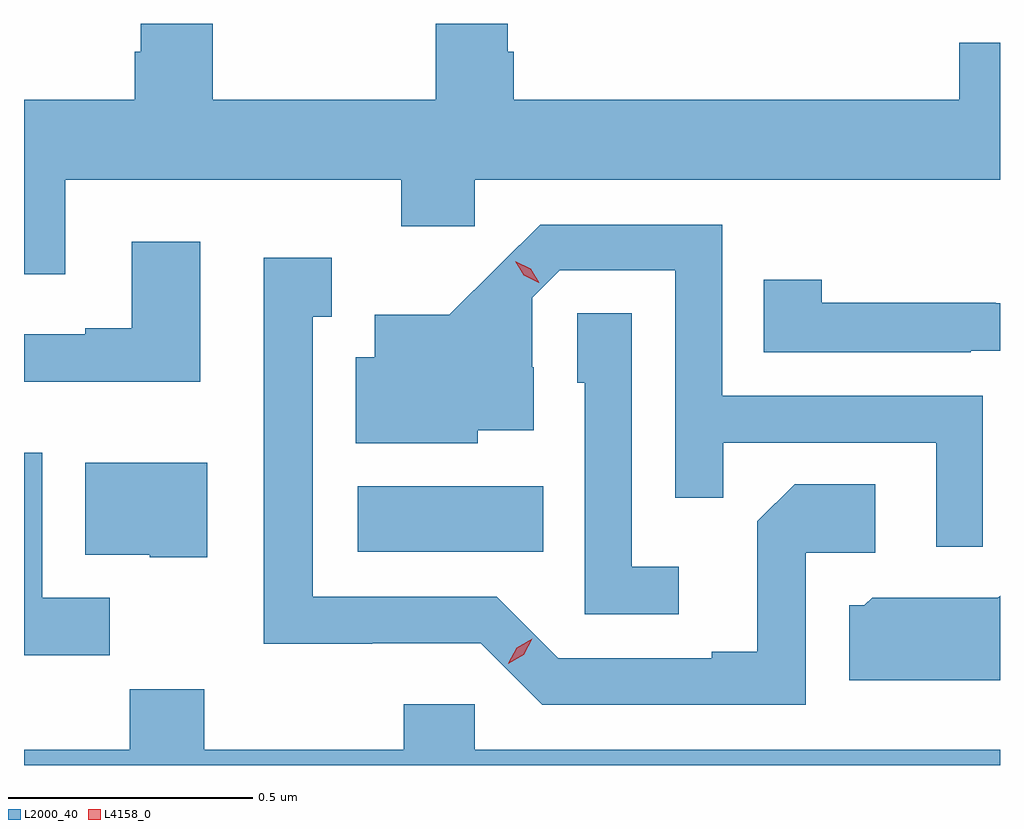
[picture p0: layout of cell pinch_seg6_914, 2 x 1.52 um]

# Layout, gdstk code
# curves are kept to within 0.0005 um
import gdstk
lib = gdstk.Library(unit=1e-6, precision=1e-09)
def R(c, l, rs):  # rectangles x0, y0, x1, y1
    for r in rs: c.add(gdstk.rectangle(r[:2], r[2:], *l))
def P(c, l, *ps):  # polygons
    for p in ps: c.add(gdstk.Polygon(p, *l))
L2000_40 = (2000, 40)
L4158_0 = (4158, 0)

pinch_seg6_914 = lib.new_cell('pinch_seg6_914')
R(pinch_seg6_914, L2000_40, [(155.136,915.938,155.516,916.072)])
P(pinch_seg6_914, L2000_40, [(154.537,916.7),(155.225,916.7),(155.225,916.605),(155.376,916.605),(155.376,916.7),(156.452,916.7),(156.452,916.981),(156.368,916.981),(156.368,916.864),(155.456,916.864),(155.456,916.962),(155.443,916.962),(155.443,917.02),(155.296,917.02),(155.296,916.864),(154.839,916.864),(154.839,917.02),(154.691,917.02),(154.691,916.962),(154.679,916.962),(154.679,916.864),(154.452,916.864),(154.452,916.506),(154.537,916.506)],
  [(156.417,916.257),(155.883,916.257),(155.883,916.608),(155.51,916.608),(155.323,916.423),(155.171,916.423),(155.171,916.336),(155.132,916.336),(155.132,916.16),(155.382,916.16),(155.382,916.187),(155.497,916.187),(155.497,916.316),(155.493,916.316),(155.493,916.458),(155.55,916.515),(155.787,916.515),(155.787,916.048),(155.885,916.048),(155.885,916.161),(156.321,916.161),(156.321,915.948),(156.417,915.948)],
  [(154.813,916.573),(154.673,916.573),(154.673,916.396),(154.577,916.396),(154.577,916.383),(154.452,916.383),(154.452,916.286),(154.813,916.286)],
  [(156.054,915.936),(156.196,915.936),(156.196,916.076),(156.031,916.076),(155.955,916),(155.955,915.733),(155.861,915.733),(155.861,915.72),(155.547,915.72),(155.421,915.846),(155.044,915.846),(155.044,916.419),(155.083,916.419),(155.083,916.54),(154.943,916.54),(154.943,915.749),(155.166,915.749),(155.166,915.75),(155.388,915.75),(155.514,915.624),(156.054,915.624)],
  [(156.392,916.35),(156.452,916.35),(156.452,916.447),(156.443,916.447),(156.443,916.448),(156.087,916.448),(156.087,916.495),(155.968,916.495),(155.968,916.347),(156.392,916.347)],
  [(155.794,915.907),(155.697,915.907),(155.697,916.427),(155.586,916.427),(155.586,916.284),(155.601,916.284),(155.601,915.81),(155.794,915.81)],
  [(154.628,915.844),(154.489,915.844),(154.489,916.141),(154.452,916.141),(154.452,915.726),(154.628,915.726)],
  [(154.828,916.12),(154.577,916.12),(154.577,915.932),(154.71,915.932),(154.71,915.926),(154.828,915.926)],
  [(156.452,915.848),(156.447,915.843),(156.324,915.843),(156.324,915.844),(156.19,915.844),(156.174,915.828),(156.143,915.828),(156.143,915.674),(156.452,915.674)],
  [(156.452,915.532),(155.376,915.532),(155.376,915.625),(155.23,915.625),(155.23,915.532),(154.821,915.532),(154.821,915.656),(154.669,915.656),(154.669,915.532),(154.452,915.532),(154.452,915.5),(156.452,915.5)])
P(pinch_seg6_914, L4158_0, [(155.507,916.489),(155.476,916.504),(155.459,916.533),(155.459,916.533),(155.459,916.533),(155.49,916.518),(155.508,916.489),(155.508,916.489)],
  [(155.444,915.708),(155.444,915.709),(155.462,915.741),(155.494,915.76),(155.494,915.76),(155.494,915.759),(155.476,915.727),(155.444,915.708)])

lib.write_gds('pinch_seg6_914.gds')
